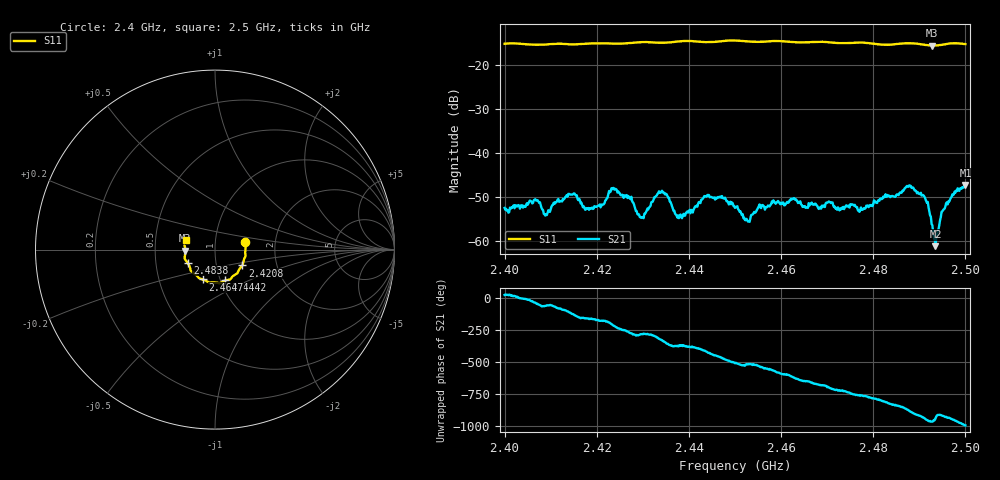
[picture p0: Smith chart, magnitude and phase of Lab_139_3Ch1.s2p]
# Hz S RI R 50
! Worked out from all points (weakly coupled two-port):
!   601 points, 2.4 GHz to 2.5 GHz, reference 50 ohm
!   highest |S21| = -47.34 dB at 2.5 GHz (marker M1); lowest = -61.2 dB at 2.4935 GHz (marker M2)
!   lowest |S11| = -15.6 dB at 2.4928 GHz (marker M3), VSWR 1.40, Z = 35.8 - j0.409 ohm
!   |S11| at or under -10 dB: start of sweep to end of sweep
!   S12 and S22 are empty: the file has one direction only
!   S11 on the Smith chart (normalised r, x): 2.4 GHz: 1.40, +0.12; 2.4208 GHz: 1.33, -0.24; 2.4442 GHz: 1.05, -0.37; 2.4647 GHz: 0.83, -0.29; 2.4838 GHz: 0.73, -0.11; 2.5 GHz: 0.72, +0.08
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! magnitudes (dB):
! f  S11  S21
! 2.4 GHz  -15.2  -52.6
! 2.4147 GHz  -15.4  -49.5
! 2.4167 GHz  -15.3  -51.4
! 2.4208 GHz  -15.1  -52.4
! 2.4237 GHz  -15.2  -48.0
! 2.4298 GHz  -14.8  -54.7
! 2.4333 GHz  -15.0  -49.2
! 2.438 GHz  -14.7  -54.5
! 2.4442 GHz  -14.9  -49.6
! 2.45 GHz  -14.5  -52.5
! 2.4527 GHz  -14.7  -55.4
! 2.4585 GHz  -14.6  -51.2
! 2.4647 GHz  -14.9  -52.3
! 2.4667 GHz  -14.8  -51.3
! 2.4772 GHz  -14.9  -53.1
! 2.4833 GHz  -15.5  -49.7
! 2.4838 GHz  -15.4  -50.0
! 2.4907 GHz  -15.4  -49.6
! 2.4928 GHz  -15.6  -56.5
! 2.4935 GHz  -15.6  -61.2
! 2.4955 GHz  -15.3  -52.7
! 2.5 GHz  -15.3  -47.3
